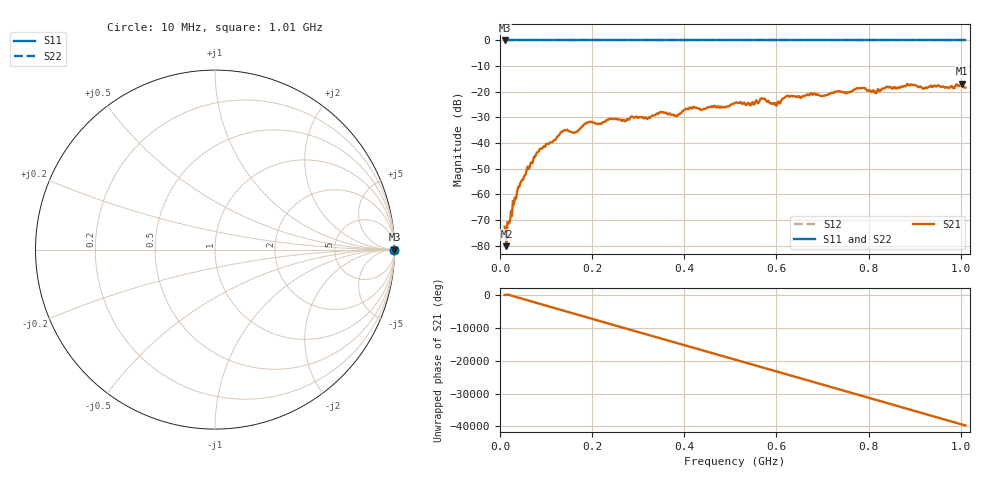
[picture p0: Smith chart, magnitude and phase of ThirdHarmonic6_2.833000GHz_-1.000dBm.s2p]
! 8/17/2025 7:34:05 AM
! C:\ANRITSUVNA\TEMP\TEMP.S2P
! CHANNEL.1
! TR.MEASUREMENT
! RAW.DATA
! RF.CORRECTION.OFF
! AVERAGING.OFF
! IF.BANDWIDTH: 5KHZ
! SWEEPTYPE:  FREQ.SWEEP(Linear)
! Reference Plane Port Info
! PORT:  PORT1  PORT2
! DISTANCE:  0  m  0  m
! TIME:  0  s  0  s
! PHASE.OFFSET:  0  deg.  0  deg.
! LOSS:  0  dB  0  dB
! REF.LOSS:  0  dB  0  dB
! REF.FREQ:  0  Hz  0  Hz
! Power Info
! POWER:  -20  dBm  -20  dBm
! EFF.POWER:  -20  dBm  -20  dBm
! SOURCE.ATTEN:  0  dB  0  dB
! TEST.ATTEN:  0  dB  0  dB
# GHZ S RI R 50.0
! FREQ.GHZ  S11RE  S11IM  S21RE  S21IM  S12RE  S12IM  S22RE  S22IM
!; PortSelection: Port_12
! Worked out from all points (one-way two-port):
!   501 points, 10 MHz to 1.01 GHz, reference 50 ohm
!   highest |S21| = -16.78 dB at 1.002 GHz (marker M1); lowest = -80.2 dB at 14 MHz (marker M2)
!   lowest |S11| = 0.0 dB at 10 MHz (marker M3)
!   |S11| at or under -10 dB: nowhere
!   |S22| runs from 0.0 to 0.0 dB; largest |S21 - S12| = 1.1
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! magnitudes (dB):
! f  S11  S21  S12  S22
! 10 MHz  0.0  -72.5  0.0  0.0
! 14 MHz  0.0  -80.2  0.0  0.0
! 42 MHz  0.0  -57.1  0.0  0.0
! 78 MHz  0.0  -44.6  0.0  0.0
! 136 MHz  0.0  -35.5  0.0  0.0
! 162 MHz  0.0  -36.0  0.0  0.0
! 178 MHz  0.0  -33.5  0.0  0.0
! 194 MHz  0.0  -31.7  0.0  0.0
! 344 MHz  0.0  -28.5  0.0  0.0
! 382 MHz  0.0  -29.3  0.0  0.0
! 416 MHz  0.0  -26.5  0.0  0.0
! 510 MHz  0.0  -24.3  0.0  0.0
! 548 MHz  0.0  -24.0  0.0  0.0
! 570 MHz  0.0  -22.7  0.0  0.0
! 596 MHz  0.0  -24.3  0.0  0.0
! 622 MHz  0.0  -21.7  0.0  0.0
! 678 MHz  0.0  -21.1  0.0  0.0
! 786 MHz  0.0  -18.6  0.0  0.0
! 814 MHz  0.0  -20.4  0.0  0.0
! 844 MHz  0.0  -18.3  0.0  0.0
! 1.002 GHz  0.0  -16.8  0.0  0.0
! 1.01 GHz  0.0  -18.4  0.0  0.0
